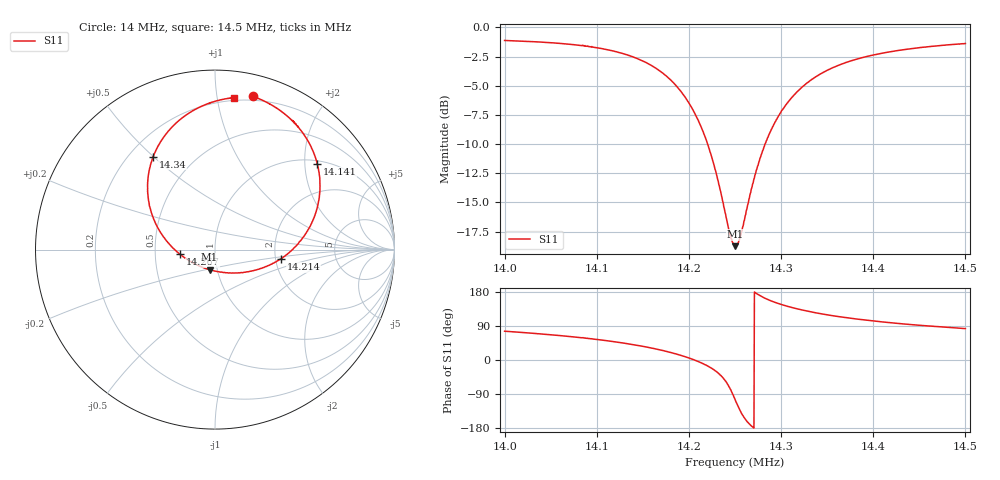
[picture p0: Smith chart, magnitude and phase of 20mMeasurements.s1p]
# HZ S RI R 50
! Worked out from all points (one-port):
!   1010 points, 14 MHz to 14.5 MHz, reference 50 ohm
!   lowest |S11| = -18.8 dB at 14.25 MHz (marker M1), VSWR 1.26, Z = 45.9 - j10.4 ohm
!   |S11| at or under -10 dB: 14.22046 MHz to 14.2828 MHz (62.33 kHz wide, 0.437 % of centre)
!   S11 on the Smith chart (normalised r, x): 14 MHz: 0.17, +1.27; 14.141 MHz: 1.08, +2.31; 14.214 MHz: 2.14, -0.25; 14.267 MHz: 0.67, -0.04; 14.34 MHz: 0.30, +0.50; 14.5 MHz: 0.18, +1.12
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1.4e7  0.2135 0.8533
1.403125e7  0.2918 0.8185
1.406299e7  0.3772 0.7643
1.409275e7  0.4586 0.6883
1.412549e7  0.5409 0.5594
1.414086e7  0.5697 0.4784
1.416666e7  0.5833 0.3078
1.418798e7  0.5346 0.1395
1.420138e7  0.4643 0.0346
1.421378e7  0.3678 -0.0511
1.42237e7  0.2713 -0.1002
1.423312e7  0.1675 -0.1264
1.424453e7  0.0368 -0.1252
1.4248e7  -0.00331 -0.1194
1.425048e7  -0.0306 -0.1113
1.425296e7  -0.0579 -0.1035
1.425643e7  -0.0923 -0.0884
1.426734e7  -0.1947 -0.0259
1.427677e7  -0.2649 0.0432
1.428718e7  -0.3229 0.1288
1.429909e7  -0.3613 0.2294
1.431298e7  -0.3752 0.3383
1.434026e7  -0.3436 0.5186
1.435712e7  -0.3022 0.6024
1.437547e7  -0.2483 0.673
1.440275e7  -0.1643 0.7471
1.443797e7  -0.0589 0.8054
1.450046e7  0.1061 0.8467
